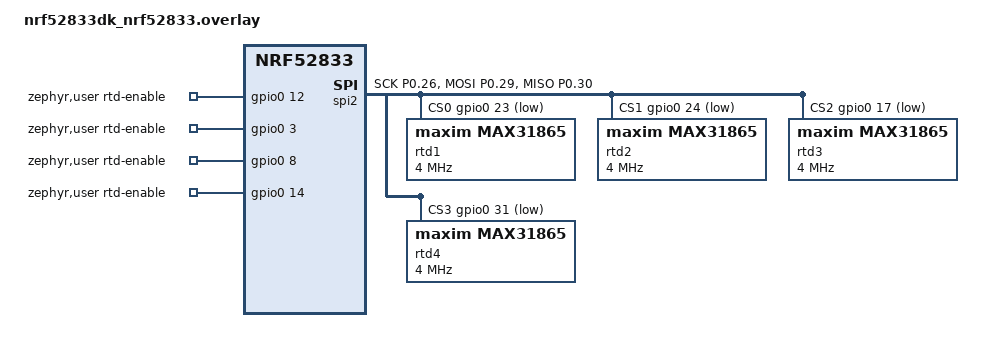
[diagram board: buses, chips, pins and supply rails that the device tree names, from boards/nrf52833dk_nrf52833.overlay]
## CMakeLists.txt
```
# SPDX-License-Identifier: Apache-2.0

cmake_minimum_required(VERSION 3.20.0)

find_package(Zephyr REQUIRED HINTS $ENV{ZEPHYR_BASE})
project(remote_thermometer)

target_sources(app PRIVATE
  src/main.c
  src/app_config.c
  src/temp_service.c
  src/max31865.c
  )
```

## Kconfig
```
# Remote thermometer application settings.
# Set them in prj.conf (both builds) or emulation/emulator.conf (emulator only), or interactively with
#   west build -d <build dir> -t menuconfig
# APP_SAMPLING_INTERVAL_MS, APP_MEASURE_ONLY_CONNECTED and APP_SENSOR_n are the factory defaults of the
# runtime configuration: a BLE client can change them (Config characteristic, thermometer.py config),
# and the hardware build keeps the changed values in flash.

menu "Remote thermometer"

config APP_SAMPLING_INTERVAL_MS
	int "Temperature sampling interval [ms]"
	default 1000
	range 100 3600000
	help
	  Time between the starts of two measurement rounds. Every round reads all enabled sensors and
	  publishes the values over BLE. One sensor takes about 77 ms (2 ms load switch settling,
	  10 ms bias settling, 65 ms conversion), so with N sensors a round takes about N * 77 ms. If the
	  interval is shorter than that, rounds run back to back.

config APP_MEASURE_ONLY_CONNECTED
	bool "Measure only while a client is connected"
	default y
	help
	  Without a connected client nobody receives the values, so the sensor channels stay unpowered
	  and the thermometer only advertises. A connecting client gets the first round at once.
	  Disable to keep measuring (and updating the readable values) all the time.

config APP_SENSOR_1
	bool "Sensor 1"
	default y

config APP_SENSOR_2
	bool "Sensor 2"
	default y

config APP_SENSOR_3
	bool "Sensor 3"

config APP_SENSOR_4
	bool "Sensor 4"
	help
	  Disabled sensors are not powered or read; their BLE characteristic keeps DE AD BE EF.

config APP_ADV_FAST_TIMEOUT_S
	int "Fast advertising time [s]"
	default 30
	range 0 3600
	help
	  After boot and after a disconnect, advertise every 100 ms for this long so a client finds the
	  thermometer quickly, then switch to slow advertising (APP_ADV_SLOW_INTERVAL_MS) to save power.
	  0: always advertise slowly.

config APP_ADV_SLOW_INTERVAL_MS
	int "Slow advertising interval [ms]"
	default 1000
	range 100 10240

endmenu

source "Kconfig.zephyr"
```

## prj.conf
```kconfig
# Remote thermometer - the real thermometer (PCB, nRF52833), release configuration.
# Board nrf52833dk/nrf52833 with the PCB pins from boards/nrf52833dk_nrf52833.overlay.
#
# Every build starts from this file:
#   hardware          prj.conf
#   emulator          prj.conf + emulation/emulator.conf (+ emulation/emulator.overlay)
#   -Config Debug     + config/debug.conf + config/debug_hardware.conf or config/debug_emulator.conf
# All differences between the hardware and the emulator build are in emulation/emulator.conf and
# emulation/emulator.overlay.

# ---------------------------------------------------------------------------
# Thermometer settings (see Kconfig). Sensor wiring (R0, reference resistor,
# 2/3/4-wire, pins) is in the board overlay.
# ---------------------------------------------------------------------------
# Time between two measurement rounds in ms (100 .. 3600000)
CONFIG_APP_SAMPLING_INTERVAL_MS=1000
# Sensors stay off while no BLE client is connected
CONFIG_APP_MEASURE_ONLY_CONNECTED=y
# Sensors that are powered, read and published
CONFIG_APP_SENSOR_1=y
CONFIG_APP_SENSOR_2=y
CONFIG_APP_SENSOR_3=n
CONFIG_APP_SENSOR_4=n
# Advertising: every 100 ms for this many seconds after boot/disconnect, then slowly
CONFIG_APP_ADV_FAST_TIMEOUT_S=30
CONFIG_APP_ADV_SLOW_INTERVAL_MS=1000

# Bluetooth peripheral. Link layer: Nordic's SoftDevice Controller, the NCS default.
CONFIG_BT=y
CONFIG_BT_PERIPHERAL=y
CONFIG_BT_DEVICE_NAME="Remote_Thermometer"
CONFIG_BT_MAX_CONN=1

# Just Works pairing with bonding, like the nRF5 SDK Peer Manager setup
# (no MITM, no LESC, no I/O capabilities).
CONFIG_BT_SMP=y
CONFIG_BT_BONDABLE=y

# Keep bonds and the runtime configuration (Config characteristic) across resets
CONFIG_BT_SETTINGS=y
CONFIG_SETTINGS=y
CONFIG_FLASH=y
CONFIG_FLASH_MAP=y
CONFIG_NVS=y

# Preferred connection parameters, requested from the client 5 s after connecting:
# 400-500 ms interval, peripheral latency 1, 6 s supervision timeout. The thermometer has nothing to
# send between rounds, so with latency 1 it wakes the radio about once a second when idle (the nRF5
# SDK firmware used 100-200 ms, latency 0: 5-10 radio events per second). A notification goes out at
# the next interval (<= 500 ms); a read by a polling client can take up to 1 s to be answered.
# Units: intervals 1.25 ms, timeout 10 ms.
CONFIG_BT_PERIPHERAL_PREF_MIN_INT=320
CONFIG_BT_PERIPHERAL_PREF_MAX_INT=400
CONFIG_BT_PERIPHERAL_PREF_LATENCY=1
CONFIG_BT_PERIPHERAL_PREF_TIMEOUT=600

# Device Information Service
CONFIG_BT_DIS=y
CONFIG_BT_DIS_MANUF_NAME_STR="Vladimir_Pokorny"
CONFIG_BT_DIS_PNP=n

# MAX31865 on SPI, load switches on GPIO
CONFIG_GPIO=y
CONFIG_SPI=y

# Hardware floating point (temperature calculation). FPU_SHARING because the measurement
# thread uses the FPU while the BT and logging threads may preempt it.
CONFIG_FPU=y
CONFIG_FPU_SHARING=y

# No UART (P0.08, UART RX on the DK, is EN_3 on the PCB), no logging, no boot banner: the log thread
# and its formatting would wake the CPU for nothing on a battery device. The debug configuration
# (.\build.ps1 -Config Debug) adds logging over RTT (hardware) or UART (emulator) and debug info.
CONFIG_SERIAL=n
CONFIG_CONSOLE=n
CONFIG_UART_CONSOLE=n
CONFIG_LOG=n
CONFIG_BOOT_BANNER=n

# The CPU idles in System ON sleep between events (tickless kernel). Runtime power management: SPIM is
# suspended, and its pins put in the sleep state, between transfers (zephyr,pm-device-runtime-auto in
# the overlay).
CONFIG_PM_DEVICE=y
CONFIG_PM_DEVICE_RUNTIME=y

CONFIG_THREAD_NAME=y
```

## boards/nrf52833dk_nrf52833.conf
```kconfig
# nRF52833 - the real thermometer (PCB pins, see nrf52833dk_nrf52833.overlay).
# Uses Nordic's SoftDevice Controller, the NCS default.

# Release configuration. No UART (P0.08, UART RX on the DK, is EN_3 on the PCB) and no logging: the
# log thread and its formatting would wake the CPU for nothing on a battery device.
# .\build.ps1 -Target hardware -Config Debug adds config/debug.conf and config/debug_nrf52833dk.conf
# (logging over RTT).
CONFIG_SERIAL=n
CONFIG_CONSOLE=n
CONFIG_UART_CONSOLE=n

# Runtime power management: SPIM is suspended, and its pins put in the sleep state, between transfers
# (zephyr,pm-device-runtime-auto in the overlay). Not in the emulator build: there it would also
# power-cycle the logging UART around every character.
CONFIG_PM_DEVICE=y
CONFIG_PM_DEVICE_RUNTIME=y

# Keep bonds across resets (the emulator build keeps them in RAM only: Renode has no NVMC model)
CONFIG_BT_SETTINGS=y
CONFIG_SETTINGS=y
CONFIG_FLASH=y
CONFIG_FLASH_MAP=y
CONFIG_NVS=y
```

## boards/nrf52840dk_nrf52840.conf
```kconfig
# nRF52840 DK - the emulator target (Renode, nrf52_emulator). Release configuration: like the hardware
# build, no logging and no UART, so the emulator's Power tab shows what the thermometer would draw.
# .\build.ps1 -Config Debug adds config/debug.conf and config/debug_nrf52840dk.conf (UART log, LEDs).
# See nrf52840dk_nrf52840.overlay for the controller and pin selection.

# All four sensors: the emulator models all four MAX31865
CONFIG_APP_SENSOR_3=y
CONFIG_APP_SENSOR_4=y

# Open-source Zephyr link layer. Nordic's SoftDevice Controller (MPSL) doesn't run in Renode.
CONFIG_BT_LL_SW_SPLIT=y

# Renode has no CryptoCell-310 model: take entropy from the RNG peripheral and
# let nrf_security use software crypto.
CONFIG_HW_CC3XX=n
CONFIG_ENTROPY_CC3XX=n
CONFIG_ENTROPY_NRF5_RNG=y

# No console, no UART
CONFIG_SERIAL=n
CONFIG_CONSOLE=n
CONFIG_UART_CONSOLE=n
```

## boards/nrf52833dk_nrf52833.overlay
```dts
/*
 * nRF52833 - the thermometer PCB, used by both builds (hardware and emulator; the emulator's few
 * changes are in emulation/emulator.overlay). Same pins as the nRF5 SDK firmware
 * (MAX31865.h, spi_init()) and the PCB:
 *
 *   SCK  P0.26    CS_1 P0.23    EN_1 P0.12
 *   MOSI P0.29    CS_2 P0.24    EN_2 P0.03
 *   MISO P0.30    CS_3 P0.17    EN_3 P0.08
 *                 CS_4 P0.31    EN_4 P0.14
 *
 * The DK peripherals that use those pins are disabled.
 */

#include <zephyr/dt-bindings/gpio/gpio.h>
#include <zephyr/dt-bindings/regulator/nrf5x.h>

/*
 * Main regulator: LDO, as in the nRF5 SDK firmware (NRFX_POWER_CONFIG_DEFAULT_DCDCEN 0). The DK board
 * file selects DC/DC, which needs an inductor on DCC; the PCB has none, so DC/DC only works if the
 * BL653 module contains it. Check the BL653 datasheet; if it does, DC/DC cuts the radio and CPU
 * current by roughly a third:
 *     regulator-initial-mode = <NRF5X_REG_MODE_DCDC>;
 */
&reg1 {
	regulator-initial-mode = <NRF5X_REG_MODE_LDO>;
};

/ {
	zephyr,user {
		/* Load switches powering the RTD channels, in sensor order */
		rtd-enable-gpios = <&gpio0 12 GPIO_ACTIVE_HIGH>,
				   <&gpio0 3 GPIO_ACTIVE_HIGH>,
				   <&gpio0 8 GPIO_ACTIVE_HIGH>,
				   <&gpio0 14 GPIO_ACTIVE_HIGH>;
	};
};

/* P0.08 (RX) */
&uart0 {
	status = "disabled";
};

/* P0.26 (SDA) */
&i2c0 {
	status = "disabled";
};

/* P0.30, P0.31 */
&spi1 {
	status = "disabled";
};

/* P0.23 */
&arduino_spi {
	status = "disabled";
};

&pinctrl {
	spi2_rtd_default: spi2_rtd_default {
		group1 {
			psels = <NRF_PSEL(SPIM_SCK, 0, 26)>,
				<NRF_PSEL(SPIM_MOSI, 0, 29)>,
				<NRF_PSEL(SPIM_MISO, 0, 30)>;
		};
	};

	spi2_rtd_sleep: spi2_rtd_sleep {
		group1 {
			psels = <NRF_PSEL(SPIM_SCK, 0, 26)>,
				<NRF_PSEL(SPIM_MOSI, 0, 29)>,
				<NRF_PSEL(SPIM_MISO, 0, 30)>;
			low-power-enable;
		};
	};
};

&spi2 {
	compatible = "nordic,nrf-spim";
	status = "okay";
	/* SPIM is suspended (and its pins put in the sleep state) between transfers */
	zephyr,pm-device-runtime-auto;
	pinctrl-0 = <&spi2_rtd_default>;
	pinctrl-1 = <&spi2_rtd_sleep>;
	pinctrl-names = "default", "sleep";
	cs-gpios = <&gpio0 23 GPIO_ACTIVE_LOW>,
		   <&gpio0 24 GPIO_ACTIVE_LOW>,
		   <&gpio0 17 GPIO_ACTIVE_LOW>,
		   <&gpio0 31 GPIO_ACTIVE_LOW>;

	/* PT100 sensors, 430 ohm reference resistors, 4-wire connection */
	rtd1: max31865@0 {
		compatible = "maxim,max31865";
		reg = <0>;
		spi-max-frequency = <4000000>;
		resistance-at-zero = <100>;
		resistance-reference = <430>;
	};

	rtd2: max31865@1 {
		compatible = "maxim,max31865";
		reg = <1>;
		spi-max-frequency = <4000000>;
		resistance-at-zero = <100>;
		resistance-reference = <430>;
	};

	rtd3: max31865@2 {
		compatible = "maxim,max31865";
		reg = <2>;
		spi-max-frequency = <4000000>;
		resistance-at-zero = <100>;
		resistance-reference = <430>;
	};

	rtd4: max31865@3 {
		compatible = "maxim,max31865";
		reg = <3>;
		spi-max-frequency = <4000000>;
		resistance-at-zero = <100>;
		resistance-reference = <430>;
	};
};
```

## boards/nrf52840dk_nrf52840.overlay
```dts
/*
 * nRF52840 DK - the emulator target (Renode, nrf52_emulator).
 *
 * - Open-source Zephyr link layer (BT_LL_SW_SPLIT) and the RNG peripheral as entropy
 *   source. Both are required for the firmware to run in Renode.
 * - The MAX31865 bus is SPI2 in legacy (non-EasyDMA) mode, the only SPI instance Renode
 *   models on the nRF52840 (sysbus.spi2).
 * - The thermometer PCB pins (P0.03/08/12/14/17/23/24/26/29/30/31) collide with the DK's
 *   buttons, QSPI flash and UART, so everything is moved to the free Arduino header pins
 *   on port 1:
 *
 *     signal  PCB    DK     Arduino      signal  PCB    DK     Arduino
 *     SCK     P0.26  P1.15  D13          EN_1    P0.12  P1.07  D6
 *     MOSI    P0.29  P1.13  D11          EN_2    P0.03  P1.06  D5
 *     MISO    P0.30  P1.14  D12          EN_3    P0.08  P1.05  D4
 *     CS_1    P0.23  P1.12  D10          EN_4    P0.14  P1.04  D3
 *     CS_2    P0.24  P1.11  D9
 *     CS_3    P0.17  P1.10  D8
 *     CS_4    P0.31  P1.08  D7
 */

#include <zephyr/dt-bindings/gpio/gpio.h>

/ {
	chosen {
		zephyr,bt-hci = &bt_hci_controller;
		zephyr,entropy = &rng;
	};

	zephyr,user {
		/* Load switches powering the RTD channels, in sensor order */
		rtd-enable-gpios = <&gpio1 7 GPIO_ACTIVE_HIGH>,
				   <&gpio1 6 GPIO_ACTIVE_HIGH>,
				   <&gpio1 5 GPIO_ACTIVE_HIGH>,
				   <&gpio1 4 GPIO_ACTIVE_HIGH>;
	};
};

&bt_hci_sdc {
	status = "disabled";
};

&bt_hci_controller {
	status = "okay";
};

/* Uses the same Arduino SPI pins */
&arduino_spi {
	status = "disabled";
};

&pinctrl {
	spi2_rtd_default: spi2_rtd_default {
		group1 {
			psels = <NRF_PSEL(SPIM_SCK, 1, 15)>,
				<NRF_PSEL(SPIM_MOSI, 1, 13)>,
				<NRF_PSEL(SPIM_MISO, 1, 14)>;
		};
	};

	spi2_rtd_sleep: spi2_rtd_sleep {
		group1 {
			psels = <NRF_PSEL(SPIM_SCK, 1, 15)>,
				<NRF_PSEL(SPIM_MOSI, 1, 13)>,
				<NRF_PSEL(SPIM_MISO, 1, 14)>;
			low-power-enable;
		};
	};
};

&spi2 {
	compatible = "nordic,nrf-spi";
	status = "okay";
	pinctrl-0 = <&spi2_rtd_default>;
	pinctrl-1 = <&spi2_rtd_sleep>;
	pinctrl-names = "default", "sleep";
	cs-gpios = <&gpio1 12 GPIO_ACTIVE_LOW>,
		   <&gpio1 11 GPIO_ACTIVE_LOW>,
		   <&gpio1 10 GPIO_ACTIVE_LOW>,
		   <&gpio1 8 GPIO_ACTIVE_LOW>;

	/* PT100 sensors, 430 ohm reference resistors, 4-wire connection */
	rtd1: max31865@0 {
		compatible = "maxim,max31865";
		reg = <0>;
		spi-max-frequency = <4000000>;
		resistance-at-zero = <100>;
		resistance-reference = <430>;
	};

	rtd2: max31865@1 {
		compatible = "maxim,max31865";
		reg = <1>;
		spi-max-frequency = <4000000>;
		resistance-at-zero = <100>;
		resistance-reference = <430>;
	};

	rtd3: max31865@2 {
		compatible = "maxim,max31865";
		reg = <2>;
		spi-max-frequency = <4000000>;
		resistance-at-zero = <100>;
		resistance-reference = <430>;
	};

	rtd4: max31865@3 {
		compatible = "maxim,max31865";
		reg = <3>;
		spi-max-frequency = <4000000>;
		resistance-at-zero = <100>;
		resistance-reference = <430>;
	};
};
```

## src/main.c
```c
/**
 * Copyright (c) Vladimir Pokorny
 *    email:  pokorny.v@email.cz
 *    web:    www.vladimirpokorny.cz
 *
 *    https://www.vutbr.cz/studenti/zav-prace/detail/142726
 *
 ****************************************************************************************
 * BLE application for reading temperatures from RTD sensors by MAX31865.
 * It reads temperatures from up to 4 sensors and sends them by BLE. Each sensor can be
 * enabled or disabled. More about this work is written in the final Master thesis:
 *
 * https://www.vut.cz/studenti/zav-prace/detail/142726
 *
 * Zephyr / nRF Connect SDK port of the nRF5 SDK 17.1.0 + S140 firmware
 * (Software Files/Firmware/ble_remote_thermometer). Same BLE service and UUIDs, see
 * temp_service.h. Sensor wiring (pins, R0, reference resistors, 2/3/4-wire) is in the
 * board devicetree overlays in boards/.
 */

#include <stdbool.h>
#include <stdint.h>
#include <stdlib.h>

#include <zephyr/bluetooth/bluetooth.h>
#include <zephyr/bluetooth/conn.h>
#include <zephyr/bluetooth/hci.h>
#include <zephyr/bluetooth/uuid.h>
#include <zephyr/drivers/gpio.h>
#include <zephyr/kernel.h>
#include <zephyr/logging/log.h>
#include <zephyr/settings/settings.h>

#include "app_config.h"
#include "max31865.h"
#include "temp_service.h"

LOG_MODULE_REGISTER(main, LOG_LEVEL_INF);

/***************************************************************************************************************/
/*  Sampling interval, enabled sensors, measuring only while connected: runtime configuration (app_config.h),  */
/*  set over BLE (Config characteristic); defaults from CONFIG_APP_* in prj.conf / emulation/emulator.conf.     */
/*  The characteristics of the RTD sensors and the reference resistors are in the board overlay (boards/).     */
/*  More about this work, functions and variables is written in the final Master thesis:                       */
/*  https://www.vut.cz/studenti/zav-prace/detail/142726                                                        */
/***************************************************************************************************************/

#define APP_ADV_INTERVAL    160             // The advertising interval (in units of 0.625 ms, 100 ms)

#define SENSOR_COUNT        TEMP_SERVICE_SENSOR_COUNT
#define ZEPHYR_USER         DT_PATH(zephyr_user)

/* One measuring channel: MAX31865 chip and the load switch powering it (and the channel's status LED) */
struct rtd_channel {
	struct max31865 max;
	struct gpio_dt_spec enable;
};

#define RTD_CHANNEL(label, idx)                                                                  \
	{                                                                                        \
		.max = MAX31865_DT_SPEC_GET(DT_NODELABEL(label)),                                \
		.enable = GPIO_DT_SPEC_GET_BY_IDX(ZEPHYR_USER, rtd_enable_gpios, idx),           \
	}

static const struct rtd_channel channels[SENSOR_COUNT] = {
	RTD_CHANNEL(rtd1, 0),
	RTD_CHANNEL(rtd2, 1),
	RTD_CHANNEL(rtd3, 2),
	RTD_CHANNEL(rtd4, 3),
};

static const struct bt_data ad[] = {
	BT_DATA_BYTES(BT_DATA_FLAGS, (BT_LE_AD_GENERAL | BT_LE_AD_NO_BREDR)),
	BT_DATA_BYTES(BT_DATA_UUID16_ALL, BT_UUID_16_ENCODE(BT_UUID_DIS_VAL)),
	BT_DATA(BT_DATA_NAME_COMPLETE, CONFIG_BT_DEVICE_NAME, sizeof(CONFIG_BT_DEVICE_NAME) - 1),
};

/* Advertising: every 100 ms for CONFIG_APP_ADV_FAST_TIMEOUT_S after boot or a disconnect, so a
 * client finds the thermometer quickly, then every CONFIG_APP_ADV_SLOW_INTERVAL_MS to save power. */
#define APP_ADV_SLOW_INTERVAL   (CONFIG_APP_ADV_SLOW_INTERVAL_MS * 8 / 5)   // in units of 0.625 ms

static atomic_t is_connected;

/* Given when a client connects or the configuration changes: the measurement thread starts a
 * round at once */
static K_SEM_DEFINE(measure_now, 0, 1);

static int advertise(uint32_t interval)
{
	return bt_le_adv_start(BT_LE_ADV_PARAM(BT_LE_ADV_OPT_CONN, interval, interval, NULL),
			       ad, ARRAY_SIZE(ad), NULL, 0);
}

static void advertising_slow(struct k_work *work)
{
	if (atomic_get(&is_connected)) {
		return;
	}
	bt_le_adv_stop();

	int err = advertise(APP_ADV_SLOW_INTERVAL);

	if (err) {
		LOG_ERR("Slow advertising failed to start (%d)", err);
		return;
	}
	LOG_INF("Slow advertising (every %d ms).", CONFIG_APP_ADV_SLOW_INTERVAL_MS);
}

static K_WORK_DELAYABLE_DEFINE(adv_slow_work, advertising_slow);

static void advertising_start(struct k_work *work)
{
	if (CONFIG_APP_ADV_FAST_TIMEOUT_S == 0) {
		advertising_slow(NULL);
		return;
	}

	int err = advertise(APP_ADV_INTERVAL);

	if (err) {
		LOG_ERR("Advertising failed to start (%d)", err);
		return;
	}
	LOG_INF("Fast advertising (%d s).", CONFIG_APP_ADV_FAST_TIMEOUT_S);
	k_work_reschedule(&adv_slow_work, K_SECONDS(CONFIG_APP_ADV_FAST_TIMEOUT_S));
}

static K_WORK_DEFINE(advertising_work, advertising_start);

static void connected(struct bt_conn *conn, uint8_t err)
{
	if (err) {
		LOG_WRN("Connection failed (0x%02x)", err);
		return;
	}
	atomic_set(&is_connected, 1);
	k_work_cancel_delayable(&adv_slow_work);
	LOG_INF("Connected.");

	struct app_config cfg;

	app_config_get(&cfg);
	if (cfg.measure_only_connected) {
		k_sem_give(&measure_now);       /* first values right away */
	}
}

static void disconnected(struct bt_conn *conn, uint8_t reason)
{
	atomic_set(&is_connected, 0);
	LOG_INF("Disconnected (0x%02x).", reason);
}

/* The client accepted (or chose) new connection parameters, see CONFIG_BT_PERIPHERAL_PREF_* */
static void le_param_updated(struct bt_conn *conn, uint16_t interval, uint16_t latency,
			     uint16_t timeout)
{
	LOG_INF("Connection parameters: interval %u.%02u ms, peripheral latency %u, timeout %u ms",
		interval * 125 / 100, interval * 125 % 100, latency, timeout * 10);
}

/* The connection object is free again: advertise for the next client */
static void recycled(void)
{
	k_work_submit(&advertising_work);
}

static void security_changed(struct bt_conn *conn, bt_security_t level, enum bt_security_err err)
{
	if (err) {
		LOG_WRN("Pairing failed (%d), disconnecting.", err);
		bt_conn_disconnect(conn, BT_HCI_ERR_AUTH_FAIL);
		return;
	}
	LOG_INF("Security level %d.", level);
}

BT_CONN_CB_DEFINE(conn_callbacks) = {
	.connected = connected,
	.disconnected = disconnected,
	.le_param_updated = le_param_updated,
	.recycled = recycled,
	.security_changed = security_changed,
};

static int gpio_init(void)
{
	int err = 0;

	for (int i = 0; i < SENSOR_COUNT && !err; i++) {
		const struct rtd_channel *ch = &channels[i];

		if (!gpio_is_ready_dt(&ch->enable)) {
			return -ENODEV;
		}
		err = gpio_pin_configure_dt(&ch->enable, GPIO_OUTPUT_INACTIVE);
	}
	return err;
}

/* Load switch of the channel */
static void channel_power(const struct rtd_channel *ch, int on)
{
	gpio_pin_set_dt(&ch->enable, on);
}

/* Power the channel, read the temperature, power it down again. The load switch powers the whole
 * channel (MAX31865, bus buffer, status LED), so the channel draws nothing between measurements. */
static int measure(const struct rtd_channel *ch, float *temperature)
{
	channel_power(ch, 1);
	k_msleep(2);

	/* The MAX31865 starts from its reset configuration after every power-up: configure it and
	 * convert in 3 SPI transfers */
	int err = readTemperatureAfterPowerUp(&ch->max, temperature);

	channel_power(ch, 0);
	return err;
}

/* New configuration from a client: measure with it at once (also restarts the interval) */
static void config_changed(const struct app_config *cfg)
{
	k_sem_give(&measure_now);
}

/* Measurement thread: every cfg.interval_ms read all enabled sensors, then publish
 * them over BLE in one notification. Replaces the app_timer flag polled in the nRF5 SDK main loop.
 * Between rounds the thread sleeps and the CPU idles in System ON sleep (tickless kernel).
 * With cfg.measure_only_connected the sensors stay off while no client is connected. */
static void measurement_thread(void *p1, void *p2, void *p3)
{
	int64_t next = k_uptime_get();

	for (;;) {
		struct app_config cfg;

		app_config_get(&cfg);

		if (cfg.measure_only_connected && !atomic_get(&is_connected)) {
			LOG_INF("No client connected: sensors off.");
			k_sem_take(&measure_now, K_FOREVER);
			next = k_uptime_get();
			continue;       /* the client may have left again meanwhile */
		}

		for (int i = 0; i < SENSOR_COUNT; i++) {
			float temperature;

			if (!(cfg.sensor_mask & BIT(i))) {
				temp_service_clear(i);  /* disabled: DE AD BE EF */
				continue;
			}

			int err = measure(&channels[i], &temperature);

			if (err) {
				LOG_ERR("Sensor %d: SPI error %d", i + 1, err);
				continue;
			}

			int32_t milli = (int32_t)(temperature * 1000);

			LOG_INF("Sensor %d: %s%d.%03d C", i + 1, milli < 0 ? "-" : "",
				abs(milli) / 1000, abs(milli) % 1000);
			temp_service_update(i, milli);
		}

		/* One BLE packet for the whole round */
		temp_service_publish();

		/* Fixed period from round start to round start. A round longer than the interval
		 * starts the next one at once instead of running a backlog of late rounds. */
		next += cfg.interval_ms;
		if (next < k_uptime_get()) {
			next = k_uptime_get();
		}

		/* Sleep until the next round, or until a client connects: then measure at once */
		if (k_sem_take(&measure_now, K_TIMEOUT_ABS_MS(next)) == 0) {
			next = k_uptime_get();
		}
	}
}

K_THREAD_DEFINE(measurement_tid, 2048, measurement_thread, NULL, NULL, NULL,
		K_PRIO_PREEMPT(7), K_FP_REGS, -1);

int main(void)
{
	int err;

	err = gpio_init();
	if (err) {
		LOG_ERR("GPIO init failed (%d)", err);
		return 0;
	}

	// The MAX31865 chips are unpowered until measured: measure() configures them after power-up
	for (int i = 0; i < SENSOR_COUNT; i++) {
		if (!spi_is_ready_dt(&channels[i].max.spi)) {
			LOG_ERR("SPI bus of sensor %d is not ready", i + 1);
			return 0;
		}
	}

	err = bt_enable(NULL);
	if (err) {
		LOG_ERR("Bluetooth init failed (%d)", err);
		return 0;
	}

	// Configuration defaults from Kconfig, replaced by the stored one in settings_load()
	app_config_init(config_changed);

	if (IS_ENABLED(CONFIG_SETTINGS)) {
		settings_load();            // bonds and the stored configuration
	}

	k_work_submit(&advertising_work);

	// Start execution.
	struct app_config cfg;

	app_config_get(&cfg);
	LOG_INF("Measuring temperature started: every %u ms, sensors%s%s%s%s%s.", cfg.interval_ms,
		cfg.sensor_mask & BIT(0) ? " 1" : "", cfg.sensor_mask & BIT(1) ? " 2" : "",
		cfg.sensor_mask & BIT(2) ? " 3" : "", cfg.sensor_mask & BIT(3) ? " 4" : "",
		cfg.measure_only_connected ? ", only while connected" : "");
	k_thread_name_set(measurement_tid, "measurement");
	k_thread_start(measurement_tid);

	return 0;
}
```

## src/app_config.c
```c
#include "app_config.h"

#include <errno.h>
#include <string.h>

#include <zephyr/kernel.h>
#include <zephyr/logging/log.h>
#include <zephyr/settings/settings.h>
#include <zephyr/sys/util.h>

LOG_MODULE_REGISTER(app_config, LOG_LEVEL_INF);

/* Stored in flash as "thermo/cfg" (CONFIG_SETTINGS). Version byte first, so a later firmware can
 * convert an older layout instead of misreading it. */
#define STORED_VERSION 1

struct stored_config {
	uint8_t version;
	uint8_t sensor_mask;
	uint8_t measure_only_connected;
	uint8_t reserved;
	uint32_t interval_ms;
} __packed;

static struct app_config config;
static K_MUTEX_DEFINE(config_lock);
static app_config_changed_cb changed_cb;

static bool valid(const struct app_config *cfg)
{
	return cfg->interval_ms >= APP_CONFIG_INTERVAL_MIN_MS &&
	       cfg->interval_ms <= APP_CONFIG_INTERVAL_MAX_MS &&
	       (cfg->sensor_mask & ~BIT_MASK(APP_CONFIG_SENSOR_COUNT)) == 0;
}

void app_config_init(app_config_changed_cb cb)
{
	changed_cb = cb;
	config = (struct app_config){
		.interval_ms = CONFIG_APP_SAMPLING_INTERVAL_MS,
		.sensor_mask = (IS_ENABLED(CONFIG_APP_SENSOR_1) ? BIT(0) : 0) |
			       (IS_ENABLED(CONFIG_APP_SENSOR_2) ? BIT(1) : 0) |
			       (IS_ENABLED(CONFIG_APP_SENSOR_3) ? BIT(2) : 0) |
			       (IS_ENABLED(CONFIG_APP_SENSOR_4) ? BIT(3) : 0),
		.measure_only_connected = IS_ENABLED(CONFIG_APP_MEASURE_ONLY_CONNECTED),
	};
}

void app_config_get(struct app_config *cfg)
{
	k_mutex_lock(&config_lock, K_FOREVER);
	*cfg = config;
	k_mutex_unlock(&config_lock);
}

int app_config_set(const struct app_config *cfg)
{
	if (!valid(cfg)) {
		return -EINVAL;
	}

	k_mutex_lock(&config_lock, K_FOREVER);
	config = *cfg;
	k_mutex_unlock(&config_lock);

	LOG_INF("Configuration: every %u ms, sensors 0x%x, measure only when connected: %s",
		cfg->interval_ms, cfg->sensor_mask, cfg->measure_only_connected ? "yes" : "no");

#if defined(CONFIG_SETTINGS)
	struct stored_config stored = {
		.version = STORED_VERSION,
		.sensor_mask = cfg->sensor_mask,
		.measure_only_connected = cfg->measure_only_connected,
		.interval_ms = cfg->interval_ms,
	};
	int err = settings_save_one("thermo/cfg", &stored, sizeof(stored));

	if (err) {
		LOG_WRN("Saving the configuration failed (%d), it is lost at the next reset", err);
	}
#endif

	if (changed_cb) {
		changed_cb(cfg);
	}
	return 0;
}

#if defined(CONFIG_SETTINGS)
static int config_settings_set(const char *name, size_t len, settings_read_cb read_cb, void *cb_arg)
{
	struct stored_config stored;
	const char *next;

	if (!settings_name_steq(name, "cfg", &next) || next) {
		return -ENOENT;
	}
	if (len != sizeof(stored) || read_cb(cb_arg, &stored, sizeof(stored)) != sizeof(stored) ||
	    stored.version != STORED_VERSION) {
		LOG_WRN("Ignoring a stored configuration of an unknown format, using the defaults");
		return 0;
	}

	struct app_config cfg = {
		.interval_ms = stored.interval_ms,
		.sensor_mask = stored.sensor_mask,
		.measure_only_connected = stored.measure_only_connected,
	};

	if (!valid(&cfg)) {
		LOG_WRN("Ignoring an invalid stored configuration, using the defaults");
		return 0;
	}

	k_mutex_lock(&config_lock, K_FOREVER);
	config = cfg;
	k_mutex_unlock(&config_lock);
	return 0;
}

SETTINGS_STATIC_HANDLER_DEFINE(thermo, "thermo", NULL, config_settings_set, NULL, NULL);
#endif
```

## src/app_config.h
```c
/**
 * Runtime configuration of the thermometer: sampling interval, enabled sensors, measuring only while
 * connected. Defaults come from Kconfig (CONFIG_APP_*); a BLE client changes them through the Config
 * characteristic (temp_service.h). With CONFIG_SETTINGS (hardware build) they are kept in flash.
 */

#ifndef APP_CONFIG_H__
#define APP_CONFIG_H__

#include <stdbool.h>
#include <stdint.h>

/* Sampling interval limits [ms], as in Kconfig APP_SAMPLING_INTERVAL_MS */
#define APP_CONFIG_INTERVAL_MIN_MS 100
#define APP_CONFIG_INTERVAL_MAX_MS 3600000

#define APP_CONFIG_SENSOR_COUNT 4

struct app_config {
	uint32_t interval_ms;           /* time between two measurement rounds */
	uint8_t sensor_mask;            /* bit n: sensor n+1 is powered, read and published */
	bool measure_only_connected;    /* sensors off while no client is connected */
};

/** Called after the configuration changed (from the thread that changed it). */
typedef void (*app_config_changed_cb)(const struct app_config *cfg);

/** Set the defaults from Kconfig and register the change callback. Call before settings_load(). */
void app_config_init(app_config_changed_cb cb);

/** Copy of the current configuration. */
void app_config_get(struct app_config *cfg);

/**
 * Check, apply and (with CONFIG_SETTINGS) store a new configuration.
 *
 * @return 0, or -EINVAL if a value is out of range.
 */
int app_config_set(const struct app_config *cfg);

#endif /* APP_CONFIG_H__ */
```

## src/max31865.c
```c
#include "max31865.h"

#include <math.h>

#include <zephyr/kernel.h>
#include <zephyr/logging/log.h>

LOG_MODULE_REGISTER(max31865, LOG_LEVEL_INF);


/**************************************************************************/
/*!
    @brief Check the SPI bus and set the number of RTD wires used
    @param dev The chip, its wiring comes from devicetree
    @return 0 or a negative errno
*/
/**************************************************************************/
int MAX31865_init(const struct max31865 *dev)
{
    int err;

    if (!spi_is_ready_dt(&dev->spi))
    {
        LOG_ERR("SPI bus %s is not ready", dev->spi.bus->name);
        return -ENODEV;
    }

    err = setWires(dev, dev->wires);
    if (!err) err = enableBias(dev, false);
    if (!err) err = autoConvert(dev, false);
    if (!err) err = clearFault(dev);

    if (err)
    {
        LOG_ERR("Initialization of MAX31865 failed (%d)", err);
        return err;
    }

    LOG_DBG("Initialization of MAX31865 was succesful");    // after every power-up, so debug only
    return 0;
}


/**************************************************************************/
/*!
    @brief How many wires we have in our RTD setup, can be MAX31865_2WIRE,
    MAX31865_3WIRE, or MAX31865_4WIRE
    @param wires The number of wires in enum format
*/
/**************************************************************************/
int setWires(const struct max31865 *dev, max31865_numwires_t wires)
{
     uint8_t t;
     int err = readRegister8(dev, MAX31865_CONFIG_REG, &t);
     if (err) return err;

     if (wires == MAX31865_3WIRE)
     {
        t |= MAX31865_CONFIG_3WIRE;
     }

     else
     {
        // 2 or 4 wire
        t &= ~MAX31865_CONFIG_3WIRE;
     }

     return writeRegister8(dev, MAX31865_CONFIG_REG, t);
}


/**************************************************************************/
/*!
    @brief Enable the bias voltage on the RTD sensor
    @param b If true bias is enabled, else disabled
*/
/**************************************************************************/
int enableBias(const struct max31865 *dev, bool b)
{
  uint8_t t;
  int err = readRegister8(dev, MAX31865_CONFIG_REG, &t);
  if (err) return err;

  if (b) {
    t |= MAX31865_CONFIG_BIAS; // enable bias
  } else {
    t &= ~MAX31865_CONFIG_BIAS; // disable bias
  }
  return writeRegister8(dev, MAX31865_CONFIG_REG, t);
}


/**************************************************************************/
/*!
    @brief Whether we want to have continuous conversions (50/60 Hz)
    @param b If true, auto conversion is enabled
*/
/**************************************************************************/
int autoConvert(const struct max31865 *dev, bool b)
{
    uint8_t t;
    int err = readRegister8(dev, MAX31865_CONFIG_REG, &t);
    if (err) return err;

    if (b) {
      t |= MAX31865_CONFIG_MODEAUTO; // enable autoconvert
    } else {
      t &= ~MAX31865_CONFIG_MODEAUTO; // disable autoconvert
    }
    return writeRegister8(dev, MAX31865_CONFIG_REG, t);
}


/**************************************************************************/
/*!
    @brief Clear all faults in FAULTSTAT
*/
/**************************************************************************/
int clearFault(const struct max31865 *dev)
{
    uint8_t t;
    int err = readRegister8(dev, MAX31865_CONFIG_REG, &t);
    if (err) return err;

    t &= ~0x2C;
    t |= MAX31865_CONFIG_FAULTSTAT;
    return writeRegister8(dev, MAX31865_CONFIG_REG, t);
}


/**************************************************************************/
/*!
    @brief Read the raw 8-bit FAULTSTAT register
    @param fault The raw unsigned 8-bit FAULT status register
*/
/**************************************************************************/
int readFault(const struct max31865 *dev, uint8_t *fault)
{
    return readRegister8(dev, MAX31865_FAULTSTAT_REG, fault);
}


/**************************************************************************/
/*!
    @brief Whether we want filter out 50Hz noise or 60Hz noise
    @param b If true, 50Hz noise is filtered, else 60Hz(default)
*/
/**************************************************************************/
int enable50Hz(const struct max31865 *dev, bool b)
{
    uint8_t t;
    int err = readRegister8(dev, MAX31865_CONFIG_REG, &t);
    if (err) return err;

    if (b) {
      t |= MAX31865_CONFIG_FILT50HZ;
    } else {
      t &= ~MAX31865_CONFIG_FILT50HZ;
    }
    return writeRegister8(dev, MAX31865_CONFIG_REG, t);
}


/**************************************************************************/
/*!
    @brief Read the temperature in C from the RTD through calculation of the
    resistance. Uses
   http://www.analog.com/media/en/technical-documentation/application-notes/AN709_0.pdf
   technique
    @param temperature Temperature in C
*/
/**************************************************************************/
int readTemperature(const struct max31865 *dev, float *temperature)
{
    uint16_t rtd;

    int err = readRTD(dev, &rtd);
    if (err) return err;

    *temperature = rtdToTemperature(dev, rtd);
    return 0;
}


/**************************************************************************/
/*!
    @brief One-shot temperature measurement on a chip that was just powered
    up (its registers are at their reset values). Writes the configuration
    instead of read-modify-write and leaves the bias on, because the caller
    cuts the power right after: 3 SPI transfers instead of 17 for
    MAX31865_init() + readTemperature().
    @param temperature Temperature in C
*/
/**************************************************************************/
int readTemperatureAfterPowerUp(const struct max31865 *dev, float *temperature)
{
    uint8_t config = (dev->wires == MAX31865_3WIRE ? MAX31865_CONFIG_3WIRE : MAX31865_CONFIG_24WIRE)
                     | MAX31865_CONFIG_FILT60HZ;

    // Bias on, clear faults, then let the RTD input filter settle
    int err = writeRegister8(dev, MAX31865_CONFIG_REG,
                             config | MAX31865_CONFIG_BIAS | MAX31865_CONFIG_FAULTSTAT);
    if (err) return err;
    k_msleep(10);

    err = writeRegister8(dev, MAX31865_CONFIG_REG,
                         config | MAX31865_CONFIG_BIAS | MAX31865_CONFIG_1SHOT);
    if (err) return err;
    k_msleep(65);

    uint16_t rtd;
    err = readRegister16(dev, MAX31865_RTDMSB_REG, &rtd);
    if (err) return err;

    *temperature = rtdToTemperature(dev, rtd >> 1);
    return 0;
}


/**************************************************************************/
/*!
    @brief Convert the 15-bit RTD code to a temperature in C (AN709 method,
    polynomial below 0 C). Shared by readTemperature() and
    readTemperatureAfterPowerUp().
*/
/**************************************************************************/
float rtdToTemperature(const struct max31865 *dev, uint16_t rtd)
{
    float Z1, Z2, Z3, Z4, Rt, temp;

    Rt = rtd;
    Rt /= 32768;
    Rt *= dev->ref_resistor;

    Z1 = -RTD_A;
    Z2 = RTD_A * RTD_A - (4 * RTD_B);
    Z3 = (4 * RTD_B) / dev->rtd_nominal;
    Z4 = 2 * RTD_B;

    temp = Z2 + (Z3 * Rt);
    temp = (sqrtf(temp) + Z1) / Z4;

    if (temp >= 0)
      return temp;

    // ugh.
    Rt /= dev->rtd_nominal;
    Rt *= 100; // normalize to 100 ohm

    float rpoly = Rt;

    temp = -242.02f;
    temp += 2.2228f * rpoly;
    rpoly *= Rt; // square
    temp += 2.5859e-3f * rpoly;
    rpoly *= Rt; // ^3
    temp -= 4.8260e-6f * rpoly;
    rpoly *= Rt; // ^4
    temp -= 2.8183e-8f * rpoly;
    rpoly *= Rt; // ^5
    temp += 1.5243e-10f * rpoly;

    return temp;
}



/**************************************************************************/
/*!
    @brief Read the temperature in C from the RTD through calculation of the
    resistance. Uses the Callendar-Van Dusen equation, solved directly above
    0 C and by Newton's method below.
    @param temperature Temperature in C
*/
/**************************************************************************/
int temperature_new(const struct max31865 *dev, float *temperature)
{
    float a, b, c, Rt, temp;
    float RTDnominal = dev->rtd_nominal;
    uint16_t rtd;

    int err = readRTD(dev, &rtd);
    if (err) return err;

    Rt = rtd;
    Rt = Rt / 32768;
    Rt = Rt * dev->ref_resistor;

    if (Rt >= RTDnominal)
    {
      a = RTDnominal * RTD_B;
      b = RTDnominal * RTD_A;
      c = RTDnominal - Rt;

      temp = (- b + sqrtf(b * b - 4 * a * c))/(2 * a);
    }

    else
    {
      temp = (Rt/RTDnominal - 1)/(RTD_A + 100 * RTD_B);

      for (int i = 0; i < 3; i++)
      {
        temp = temp + (1 + RTD_A * temp + RTD_B * powf(temp, 2) + RTD_C * powf(temp, 3) * (temp - 100) - Rt/RTDnominal)/(RTD_A + 2 * RTD_B * temp - 300 * RTD_C * powf(temp, 2) + 4 * RTD_C * powf(temp, 3));
      }
    }

    *temperature = temp;
    return 0;
}

/**************************************************************************/
/*!
    @brief Read the raw 16-bit value from the RTD_REG in one shot mode
    @param rtd The raw unsigned 15-bit value, NOT temperature!
*/
/**************************************************************************/
int readRTD(const struct max31865 *dev, uint16_t *rtd)
{
    int err = clearFault(dev);
    if (!err) err = enableBias(dev, true);
    if (err) return err;

    k_msleep(10);

    uint8_t t;
    err = readRegister8(dev, MAX31865_CONFIG_REG, &t);
    if (err) return err;
    t |= MAX31865_CONFIG_1SHOT;

    err = writeRegister8(dev, MAX31865_CONFIG_REG, t);
    if (err) return err;

    k_msleep(65);

    uint16_t value;
    err = readRegister16(dev, MAX31865_RTDMSB_REG, &value);

    // Disable bias current again to reduce selfheating of PT100.
    int bias_err = enableBias(dev, false);
    if (err) return err;
    if (bias_err) return bias_err;

    *rtd = value >> 1;
    return 0;
}


int readRegisterN(const struct max31865 *dev, uint8_t addr, uint8_t buffer[], uint8_t n)
{
    addr &= 0x7F;                                   // make sure top bit is not set

    // Address byte out, then n bytes clocked in. buffer[0] is received while the address
    // goes out and holds no data, as with nrf_drv_spi_transfer(&addr, 1, buffer, n).
    const struct spi_buf tx_buf = { .buf = &addr, .len = 1 };
    const struct spi_buf rx_buf = { .buf = buffer, .len = n };
    const struct spi_buf_set tx = { .buffers = &tx_buf, .count = 1 };
    const struct spi_buf_set rx = { .buffers = &rx_buf, .count = 1 };

    return spi_transceive_dt(&dev->spi, &tx, &rx);
}


int readRegister8(const struct max31865 *dev, uint8_t addr, uint8_t *value)
{
    uint8_t ret[2] = {0x00, 0x00};
    int err = readRegisterN(dev, addr, ret, 2);

    *value = ret[1];
    return err;
}


int readRegister16(const struct max31865 *dev, uint8_t addr, uint16_t *value)
{
    uint8_t buffer[3] = {0x00, 0x00, 0x00};
    int err = readRegisterN(dev, addr, buffer, 3);

    uint16_t ret = buffer[1];
    ret <<= 8;
    ret |= buffer[2];

    *value = ret;
    return err;
}


int writeRegister8(const struct max31865 *dev, uint8_t addr, uint8_t data)
{
    addr |= 0x80; // make sure top bit is set

    uint8_t buffer[2] = {addr, data};
    const struct spi_buf tx_buf = { .buf = buffer, .len = sizeof(buffer) };
    const struct spi_buf_set tx = { .buffers = &tx_buf, .count = 1 };

    return spi_write_dt(&dev->spi, &tx);
}
```

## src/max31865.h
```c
/***************************************************
  This is a library for the RTD Sensor MAX31865

  This sensor uses SPI to communicate, 4 pins are required to
  interface
  Adafruit invests time and resources providing this open source code,
  please support Adafruit and open-source hardware by purchasing
  products from Adafruit!

  Written by Limor Fried/Ladyada for Adafruit Industries.
  BSD license, all text above must be included in any redistribution

  Ported to the nRF5 SDK by Vladimir Pokorny, then to Zephyr / nRF Connect SDK.
 ****************************************************/

#ifndef MAX31865_LIB_H
#define MAX31865_LIB_H

#include <stdbool.h>
#include <stdint.h>

#include <zephyr/devicetree.h>
#include <zephyr/drivers/spi.h>

#define MAX31865_CONFIG_REG       0x00
#define MAX31865_CONFIG_BIAS      0x80
#define MAX31865_CONFIG_MODEAUTO  0x40
#define MAX31865_CONFIG_MODEOFF   0x00
#define MAX31865_CONFIG_1SHOT     0x20
#define MAX31865_CONFIG_3WIRE     0x10
#define MAX31865_CONFIG_24WIRE    0x00
#define MAX31865_CONFIG_FAULTSTAT 0x02
#define MAX31865_CONFIG_FILT50HZ  0x01
#define MAX31865_CONFIG_FILT60HZ  0x00

#define MAX31865_RTDMSB_REG       0x01
#define MAX31865_RTDLSB_REG       0x02
#define MAX31865_HFAULTMSB_REG    0x03
#define MAX31865_HFAULTLSB_REG    0x04
#define MAX31865_LFAULTMSB_REG    0x05
#define MAX31865_LFAULTLSB_REG    0x06
#define MAX31865_FAULTSTAT_REG    0x07

#define MAX31865_FAULT_HIGHTHRESH 0x80
#define MAX31865_FAULT_LOWTHRESH  0x40
#define MAX31865_FAULT_REFINLOW   0x20
#define MAX31865_FAULT_REFINHIGH  0x10
#define MAX31865_FAULT_RTDINLOW   0x08
#define MAX31865_FAULT_OVUV       0x04

#define RTD_A   3.9083e-3f
#define RTD_B   -5.775e-7f
#define RTD_C   -4.183e-12f

typedef enum {
  MAX31865_2WIRE = 0,
  MAX31865_3WIRE = 1,
  MAX31865_4WIRE = 0
} max31865_numwires_t;

/**
 * @brief One MAX31865 chip with its RTD sensor.
 *
 * Replaces the slave_select pin of the nRF5 SDK version: the SPI bus, chip select, sensor and
 * reference resistances all come from a "maxim,max31865" devicetree node.
 */
struct max31865 {
  struct spi_dt_spec spi;
  float rtd_nominal;      /* Resistance of the RTD sensor at 0 C (100 for PT100, 1000 for PT1000) */
  float ref_resistor;     /* Resistance of the reference resistor (430 or 4300) */
  max31865_numwires_t wires;
};

/* SPI mode 1 (CPOL = 0, CPHA = 1), MSB first, 8-bit words. The chip supports modes 1 and 3. */
#define MAX31865_SPI_OPERATION (SPI_OP_MODE_MASTER | SPI_WORD_SET(8) | SPI_TRANSFER_MSB | SPI_MODE_CPHA)

/** Initializer for struct max31865 from a "maxim,max31865" devicetree node. */
#define MAX31865_DT_SPEC_GET(node_id)                                              \
  {                                                                                \
    .spi = SPI_DT_SPEC_GET(node_id, MAX31865_SPI_OPERATION),                        \
    .rtd_nominal = DT_PROP(node_id, resistance_at_zero),                           \
    .ref_resistor = DT_PROP(node_id, resistance_reference),                        \
    .wires = DT_PROP(node_id, maxim_3_wire) ? MAX31865_3WIRE : MAX31865_4WIRE,     \
  }


/**************************Function declaration****************************/
/* Functions returning int return 0 on success or a negative errno from the SPI driver. */

int MAX31865_init(const struct max31865 *dev);

int readFault(const struct max31865 *dev, uint8_t *fault);

int clearFault(const struct max31865 *dev);

int readRTD(const struct max31865 *dev, uint16_t *rtd);

int setWires(const struct max31865 *dev, max31865_numwires_t wires);

int autoConvert(const struct max31865 *dev, bool b);

int enable50Hz(const struct max31865 *dev, bool b);

int enableBias(const struct max31865 *dev, bool b);

int readTemperature(const struct max31865 *dev, float *temperature);

int readTemperatureAfterPowerUp(const struct max31865 *dev, float *temperature);

float rtdToTemperature(const struct max31865 *dev, uint16_t rtd);

int temperature_new(const struct max31865 *dev, float *temperature);

int readRegisterN(const struct max31865 *dev, uint8_t addr, uint8_t buffer[], uint8_t n);

int readRegister8(const struct max31865 *dev, uint8_t addr, uint8_t *value);

int readRegister16(const struct max31865 *dev, uint8_t addr, uint16_t *value);

int writeRegister8(const struct max31865 *dev, uint8_t addr, uint8_t data);

/**************************Function declaration****************************/

#endif /* MAX31865_LIB_H */
```

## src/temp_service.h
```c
/**
 * Remote thermometer GATT service.
 *
 * Same UUIDs and value format as the nRF5 SDK firmware (our_service.c), plus one characteristic that
 * carries all four temperatures:
 *
 *   Service:   0000ABCD-5468-616E-6B73-4D6F6D446164
 *   Sensor 1:  00001000-5468-616E-6B73-4D6F6D446164   read
 *   Sensor 2:  00002000-5468-616E-6B73-4D6F6D446164   read
 *   Sensor 3:  00003000-5468-616E-6B73-4D6F6D446164   read
 *   Sensor 4:  00004000-5468-616E-6B73-4D6F6D446164   read
 *   All:       00005000-5468-616E-6B73-4D6F6D446164   read, notify (once per measurement round)
 *   Config:    00006000-5468-616E-6B73-4D6F6D446164   read, write (with response)
 *
 * Sensor value: int32, little endian, temperature in milli-degrees Celsius. "All" is the four sensor
 * values in a row (16 bytes). Before the first measurement, and for disabled sensors: DE AD BE EF.
 *
 * Config, 8 bytes, little endian:
 *   [0]    version, 1
 *   [1]    sensor mask: bit n = sensor n+1 enabled
 *   [2]    flags: bit 0 = measure only while a client is connected
 *   [3]    reserved, 0
 *   [4..7] sampling interval in ms, 100 .. 3600000
 * A write takes effect at once (a measurement round starts with the new settings). Invalid values are
 * rejected with ATT error 0x13 (value not allowed), a wrong length with 0x0D.
 */

#ifndef TEMP_SERVICE_H__
#define TEMP_SERVICE_H__

#include <stdint.h>

#define TEMP_SERVICE_SENSOR_COUNT 4

/**
 * @brief Store a new temperature. Nothing is sent until temp_service_publish().
 *
 * @param sensor         Sensor index, 0..TEMP_SERVICE_SENSOR_COUNT-1.
 * @param milli_celsius  Temperature in thousandths of a degree Celsius.
 */
void temp_service_update(uint8_t sensor, int32_t milli_celsius);

/** @brief Mark a sensor as not measured (DE AD BE EF), e.g. after it was disabled. */
void temp_service_clear(uint8_t sensor);

/**
 * @brief Notify subscribed clients of all stored temperatures in one packet.
 *
 * Called once per measurement round, after all sensors were read.
 */
void temp_service_publish(void);

#endif /* TEMP_SERVICE_H__ */
```
